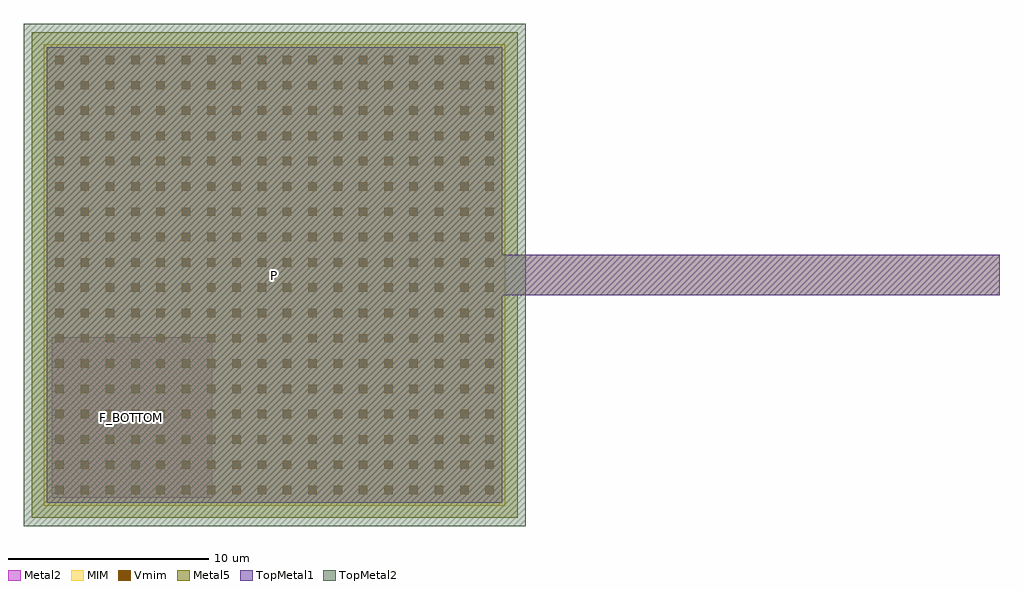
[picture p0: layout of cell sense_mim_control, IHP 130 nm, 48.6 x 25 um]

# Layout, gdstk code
import gdstk
lib = gdstk.Library(unit=1e-6, precision=1e-09)
def R(c, l, rs):  # rectangles x0, y0, x1, y1
    for r in rs: c.add(gdstk.rectangle(r[:2], r[2:], *l))
def A(c, l, x, y, w, h, nx, ny, dx, dy):  # array of equal rectangles
    R(c, l, [(x+i*dx, y+j*dy, x+i*dx+w, y+j*dy+h) for i in range(nx) for j in range(ny)])
Metal2 = (10, 0)
MIM = (36, 0)
Metal5 = (67, 0)
TopMetal1 = (126, 0)
Vmim = (129, 0)
TopMetal2 = (134, 0)

sense_mim_control = lib.new_cell('sense_mim_control')
R(sense_mim_control, Metal2, [(44.31,198.6,52.31,206.6)])
R(sense_mim_control, MIM, [(43.91,198.2,66.91,221.2)])
R(sense_mim_control, Metal5, [(43.31,197.6,67.51,221.8), (66.51,208.7,91.51,210.7)])
R(sense_mim_control, TopMetal1, [(44.07,198.36,66.75,221.04), (65.75,208.7,91.51,210.7)])
A(sense_mim_control, Vmim, 44.49, 198.78, 0.42, 0.42, 18, 18, 1.26, 1.26)
R(sense_mim_control, TopMetal2, [(42.91,197.2,67.91,222.2)])
sense_mim_control.add(gdstk.Label('P', (55.41,209.7), layer=126, texttype=25))
sense_mim_control.add(gdstk.Label('N', (55.41,209.7), layer=67, texttype=25))
sense_mim_control.add(gdstk.Label('F_TOP', (55.41,209.7), layer=134, texttype=25))
sense_mim_control.add(gdstk.Label('F_BOTTOM', (48.31,202.6), layer=10, texttype=25))

lib.write_gds('sense_mim_control.gds')
